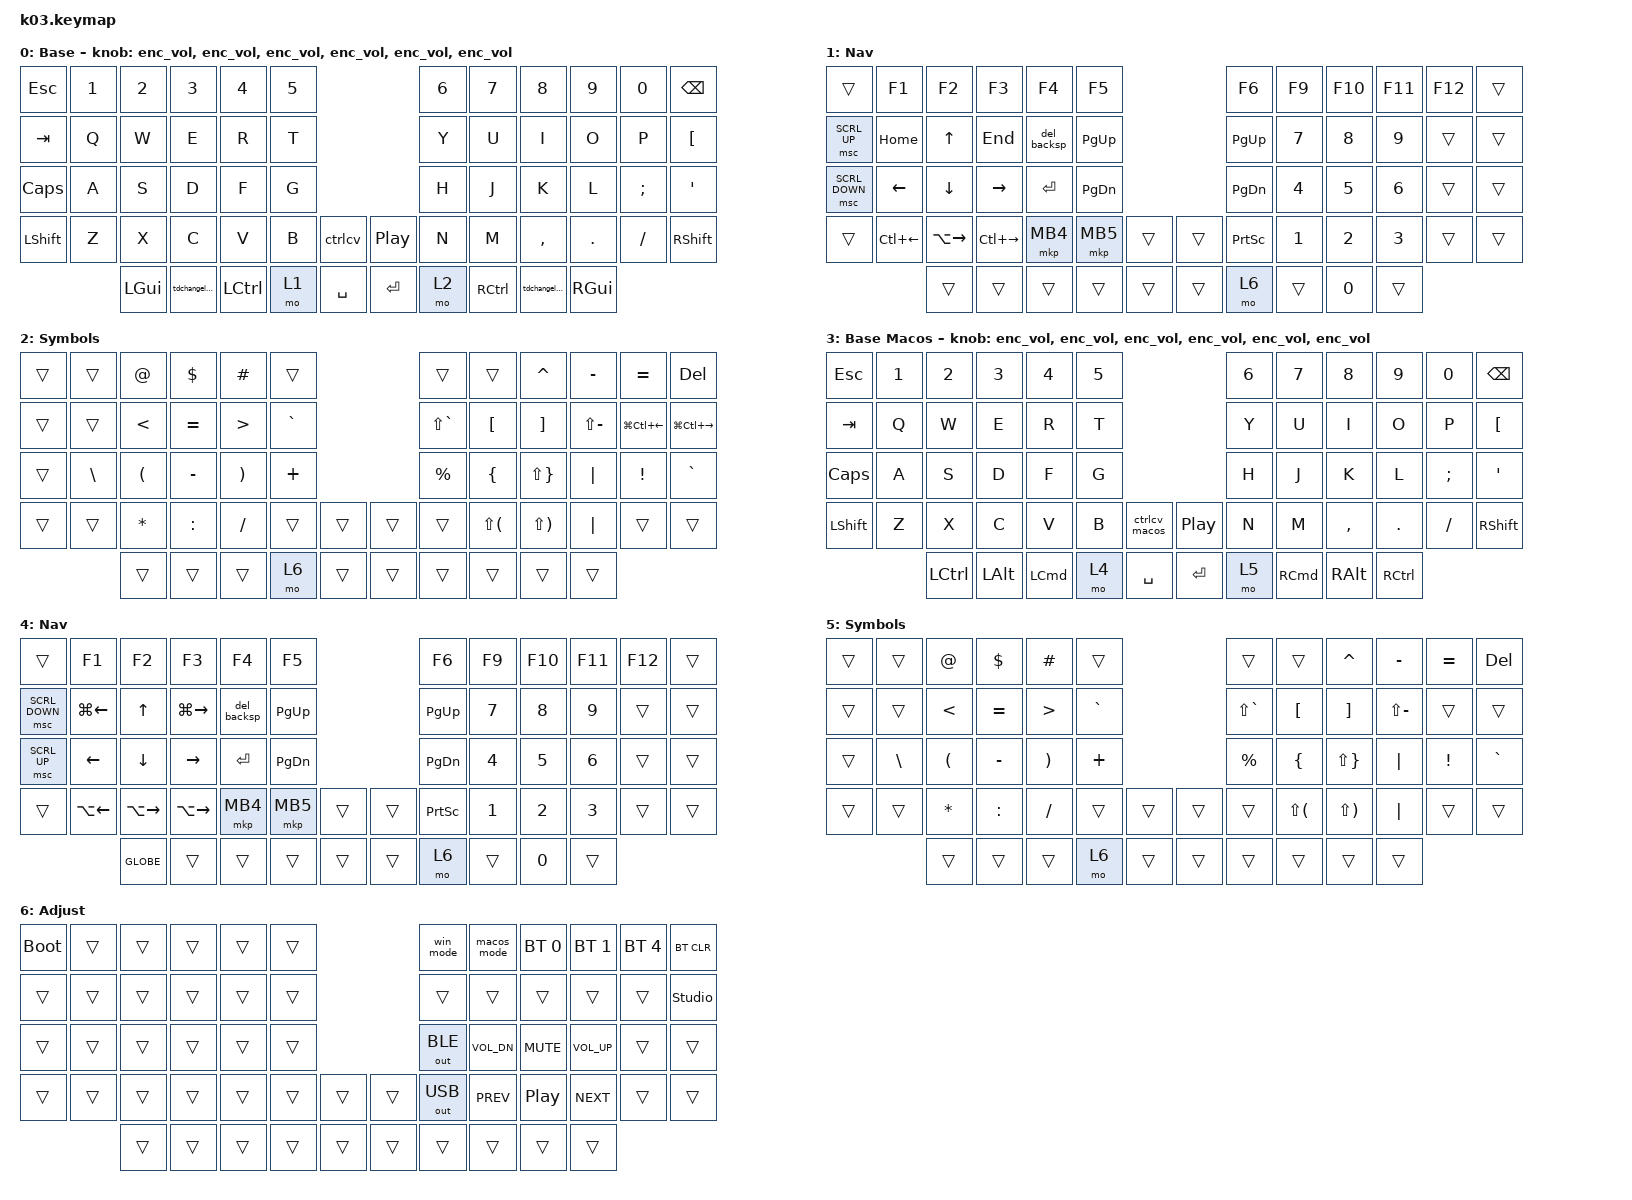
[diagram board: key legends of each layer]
#include "keys_ru.h"
#include <behaviors.dtsi>
#include <dt-bindings/zmk/bt.h>
#include <dt-bindings/zmk/keys.h>
#include <dt-bindings/zmk/outputs.h>
#include <dt-bindings/zmk/pointing.h>

/ {
    behaviors {
        enc_vol: enc_vol {
            compatible = "zmk,behavior-sensor-rotate";
            label = "ENC_VOL";
            #sensor-binding-cells = <0>;
            bindings = <&kp C_VOL_UP>, <&kp C_VOL_DN>;
        };

        ctrlcv: ctrlcv {
            compatible = "zmk,behavior-tap-dance";
            label = "CTRLCV";
            #binding-cells = <0>;
            bindings = <&kp LC(C)>, <&kp LC(V)>;
        };

        tdchangelangru: tdchangelangru {
            compatible = "zmk,behavior-tap-dance";
            label = "TDCHANGELANGRU";
            #binding-cells = <0>;
            bindings = <&kp LEFT_ALT>, <&changelangru>;
        };

        tdchangelangen: tdchangelangen {
            compatible = "zmk,behavior-tap-dance";
            label = "TDCHANGELANGEN";
            #binding-cells = <0>;
            bindings = <&kp RIGHT_ALT>, <&changelangen>;
        };

        ctrlcv_macos: ctrlcv_macos {
            compatible = "zmk,behavior-tap-dance";
            label = "CTRLCV_MACOS";
            #binding-cells = <0>;
            bindings = <&kp LG(C)>, <&kp LG(V)>;
        };

        del_backsp: del_backsp {
            compatible = "zmk,behavior-mod-morph";
            label = "DEL_BACKSP";
            bindings = <&kp DELETE>, <&kp BACKSPACE>;

            #binding-cells = <0>;
            mods = <(MOD_LSFT|MOD_RSFT)>;
        };
    };

    macros {
        changelangru: changelangru {
            compatible = "zmk,behavior-macro";
            #binding-cells = <0>;
            bindings = <&kp LS(LC(NUMBER_8))>;
            label = "CHANGELANGRU";
        };

        changelangen: changelangen {
            compatible = "zmk,behavior-macro";
            #binding-cells = <0>;
            bindings = <&kp LS(LC(N9))>;
            label = "CHANGELANGEN";
        };

        win_mode: win_mode {
            compatible = "zmk,behavior-macro";
            #binding-cells = <0>;
            bindings = <&bt BT_SEL 0>, <&macro_wait_time 50>, <&to 0>;

            label = "WIN_MODE";
        };

        macos_mode: macos_mode {
            compatible = "zmk,behavior-macro";
            #binding-cells = <0>;
            bindings = <&bt BT_SEL 1>, <&macro_wait_time 50>, <&to 3>;

            label = "MACOS_MODE";
        };
    };

    keymap {
        compatible = "zmk,keymap";

        base {
            bindings = <
&kp ESC    &kp N1  &kp N2    &kp N3           &kp N4     &kp N5                                 &kp N6  &kp N7     &kp N8           &kp N9    &kp N0    &kp BSPC
&kp TAB    &kp Q   &kp W     &kp E            &kp R      &kp T                                  &kp Y   &kp U      &kp I            &kp O     &kp P     &kp LEFT_BRACKET
&kp CLCK   &kp A   &kp S     &kp D            &kp F      &kp G                                  &kp H   &kp J      &kp K            &kp L     &kp SEMI  &kp SQT
&kp LSHFT  &kp Z   &kp X     &kp C            &kp V      &kp B   &ctrlcv      &kp C_PLAY_PAUSE  &kp N   &kp M      &kp COMMA        &kp DOT   &kp FSLH  &kp RSHFT
                   &kp LGUI  &tdchangelangru  &kp LCTRL  &mo 1   &kp SPACE    &kp ENTER         &mo 2   &kp RCTRL  &tdchangelangen  &kp RGUI
            >;

            display-name = "Base";
            sensor-bindings =
                <&enc_vol>,
                <&enc_vol>,
                <&enc_vol>,
                <&enc_vol>,
                <&enc_vol>,
                <&enc_vol>;
        };

        nav {
            bindings = <
&trans          &kp F1              &kp F2               &kp F3               &kp F4       &kp F5                           &kp F6           &kp F9  &kp F10  &kp F11  &kp F12  &trans
&msc SCRL_UP    &kp HOME            &kp UP               &kp END              &del_backsp  &kp PAGE_UP                      &kp PG_UP        &kp N7  &kp N8   &kp N9   &trans   &trans
&msc SCRL_DOWN  &kp LEFT_ARROW      &kp DOWN_ARROW       &kp RIGHT_ARROW      &kp ENTER    &kp PAGE_DOWN                    &kp PG_DN        &kp N4  &kp N5   &kp N6   &trans   &trans
&trans          &kp LC(LEFT_ARROW)  &kp LA(RIGHT_ARROW)  &kp LC(RIGHT_ARROW)  &mkp MB4     &mkp MB5       &trans    &trans  &kp PRINTSCREEN  &kp N1  &kp N2   &kp N3   &trans   &trans
                                    &trans               &trans               &trans       &trans         &trans    &trans  &mo 6            &trans  &kp N0   &trans
            >;

            display-name = "Nav";
        };

        sym {
            bindings = <
&trans  &trans    &kp AT    &kp DLLR   &kp HASH  &trans                       &trans         &trans                    &kp CARET                  &kp MINUS      &kp EQUAL               &kp DELETE
&trans  &trans    &kp LT    &kp EQUAL  &kp GT    &kp GRAVE                    &kp LS(GRAVE)  &kp LEFT_BRACKET          &kp RIGHT_BRACKET          &kp LS(MINUS)  &kp LG(LC(LEFT_ARROW))  &kp LG(LC(RIGHT_ARROW))
&trans  &kp BSLH  &kp LPAR  &kp MINUS  &kp RPAR  &kp PLUS                     &kp PRCNT      &kp LBRC                  &kp LS(RIGHT_BRACE)        &kp PIPE       &kp EXCL                &kp GRAVE
&trans  &trans    &kp STAR  &kp COLON  &kp FSLH  &trans     &trans    &trans  &trans         &kp LS(LEFT_PARENTHESIS)  &kp LS(RIGHT_PARENTHESIS)  &kp PIPE       &trans                  &trans
                  &trans    &trans     &trans    &mo 6      &trans    &trans  &trans         &trans                    &trans                     &trans
            >;

            display-name = "Symbols";
        };

        base_macos {
            display-name = "Base Macos";
            bindings = <
&kp ESC    &kp N1  &kp N2            &kp N3    &kp N4            &kp N5                              &kp N6  &kp N7             &kp N8         &kp N9             &kp N0    &kp BSPC
&kp TAB    &kp Q   &kp W             &kp E     &kp R             &kp T                               &kp Y   &kp U              &kp I          &kp O              &kp P     &kp LEFT_BRACKET
&kp CLCK   &kp A   &kp S             &kp D     &kp F             &kp G                               &kp H   &kp J              &kp K          &kp L              &kp SEMI  &kp SQT
&kp LSHFT  &kp Z   &kp X             &kp C     &kp V             &kp B   &ctrlcv_macos    &kp C_PP   &kp N   &kp M              &kp COMMA      &kp DOT            &kp FSLH  &kp RSHFT
                   &kp LEFT_CONTROL  &kp LALT  &kp LEFT_COMMAND  &mo 4   &kp SPACE        &kp ENTER  &mo 5   &kp RIGHT_COMMAND  &kp RIGHT_ALT  &kp RIGHT_CONTROL
            >;

            sensor-bindings =
                <&enc_vol>,
                <&enc_vol>,
                <&enc_vol>,
                <&enc_vol>,
                <&enc_vol>,
                <&enc_vol>;
        };

        nav_macos {
            display-name = "Nav";
            bindings = <
&trans          &kp F1              &kp F2               &kp F3               &kp F4       &kp F5                           &kp F6           &kp F9  &kp F10  &kp F11  &kp F12  &trans
&msc SCRL_DOWN  &kp LG(LEFT_ARROW)  &kp UP               &kp LG(RIGHT_ARROW)  &del_backsp  &kp PAGE_UP                      &kp PG_UP        &kp N7  &kp N8   &kp N9   &trans   &trans
&msc SCRL_UP    &kp LEFT_ARROW      &kp DOWN_ARROW       &kp RIGHT_ARROW      &kp ENTER    &kp PAGE_DOWN                    &kp PG_DN        &kp N4  &kp N5   &kp N6   &trans   &trans
&trans          &kp LA(LEFT_ARROW)  &kp LA(RIGHT_ARROW)  &kp LA(RIGHT_ARROW)  &mkp MB4     &mkp MB5       &trans    &trans  &kp PRINTSCREEN  &kp N1  &kp N2   &kp N3   &trans   &trans
                                    &kp GLOBE            &trans               &trans       &trans         &trans    &trans  &mo 6            &trans  &kp N0   &trans
            >;
        };

        sym_macos {
            display-name = "Symbols";
            bindings = <
&trans  &trans    &kp AT    &kp DLLR   &kp HASH  &trans                       &trans         &trans                    &kp CARET                  &kp MINUS      &kp EQUAL  &kp DELETE
&trans  &trans    &kp LT    &kp EQUAL  &kp GT    &kp GRAVE                    &kp LS(GRAVE)  &kp LEFT_BRACKET          &kp RIGHT_BRACKET          &kp LS(MINUS)  &trans     &trans
&trans  &kp BSLH  &kp LPAR  &kp MINUS  &kp RPAR  &kp PLUS                     &kp PRCNT      &kp LBRC                  &kp LS(RIGHT_BRACE)        &kp PIPE       &kp EXCL   &kp GRAVE
&trans  &trans    &kp STAR  &kp COLON  &kp FSLH  &trans     &trans    &trans  &trans         &kp LS(LEFT_PARENTHESIS)  &kp LS(RIGHT_PARENTHESIS)  &kp PIPE       &trans     &trans
                  &trans    &trans     &trans    &mo 6      &trans    &trans  &trans         &trans                    &trans                     &trans
            >;
        };

        adj {
            bindings = <
&bootloader  &trans  &trans  &trans  &trans  &trans                    &win_mode     &macos_mode   &bt BT_SEL 0      &bt BT_SEL 1  &bt BT_SEL 4  &bt BT_CLR
&trans       &trans  &trans  &trans  &trans  &trans                    &trans        &trans        &trans            &trans        &trans        &studio_unlock
&trans       &trans  &trans  &trans  &trans  &trans                    &out OUT_BLE  &kp C_VOL_DN  &kp C_MUTE        &kp C_VOL_UP  &trans        &trans
&trans       &trans  &trans  &trans  &trans  &trans  &trans    &trans  &out OUT_USB  &kp C_PREV    &kp C_PLAY_PAUSE  &kp C_NEXT    &trans        &trans
                     &trans  &trans  &trans  &trans  &trans    &trans  &trans        &trans        &trans            &trans
            >;

            display-name = "Adjust";
        };
    };
};
